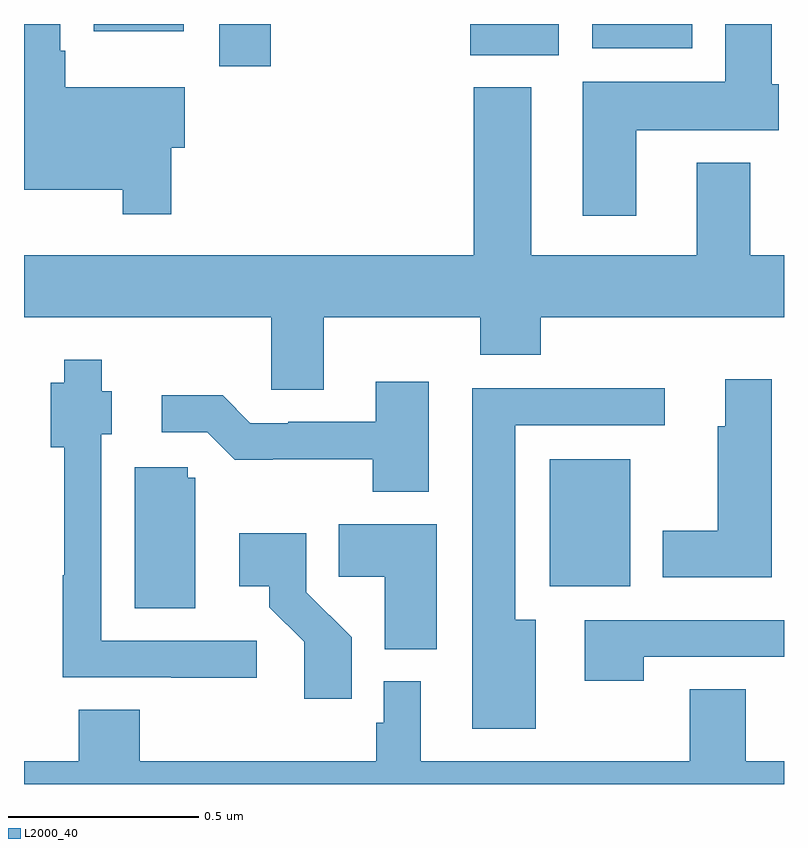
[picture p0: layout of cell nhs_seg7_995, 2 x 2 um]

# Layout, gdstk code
import gdstk
lib = gdstk.Library(unit=1e-6, precision=1e-09)
def R(c, l, rs):  # rectangles x0, y0, x1, y1
    for r in rs: c.add(gdstk.rectangle(r[:2], r[2:], *l))
def P(c, l, *ps):  # polygons
    for p in ps: c.add(gdstk.Polygon(p, *l))
L2000_40 = (2000, 40)

nhs_seg7_995 = lib.new_cell('nhs_seg7_995')
R(nhs_seg7_995, L2000_40, [(125.384,1054.52,125.596,1054.855), (124.514,1055.889,124.649,1056), (125.174,1055.918,125.407,1056), (125.495,1055.936,125.758,1056), (124.184,1055.981,124.42,1056)])
P(nhs_seg7_995, L2000_40, [(124.388,1055.675),(124.423,1055.675),(124.423,1055.833),(124.108,1055.833),(124.108,1055.929),(124.095,1055.929),(124.095,1056),(124,1056),(124,1055.564),(124.26,1055.564),(124.26,1055.499),(124.388,1055.499)],
  [(125.611,1055.72),(125.986,1055.72),(125.986,1055.841),(125.968,1055.841),(125.968,1056),(125.846,1056),(125.846,1055.848),(125.471,1055.848),(125.471,1055.496),(125.611,1055.496)],
  [(124.789,1055.228),(125.2,1055.228),(125.2,1055.129),(125.36,1055.129),(125.36,1055.228),(126,1055.228),(126,1055.392),(125.911,1055.392),(125.911,1055.635),(125.771,1055.635),(125.771,1055.392),(125.335,1055.392),(125.335,1055.833),(125.183,1055.833),(125.183,1055.392),(124,1055.392),(124,1055.228),(124.65,1055.228),(124.65,1055.038),(124.789,1055.038)],
  [(124.612,1054.377),(124.203,1054.377),(124.203,1054.92),(124.231,1054.92),(124.231,1055.034),(124.204,1055.034),(124.204,1055.116),(124.106,1055.116),(124.106,1055.056),(124.07,1055.056),(124.07,1054.886),(124.106,1054.886),(124.106,1054.55),(124.102,1054.55),(124.102,1054.281),(124.387,1054.281),(124.387,1054.279),(124.612,1054.279)],
  [(125.968,1055.065),(125.846,1055.065),(125.846,1054.941),(125.825,1054.941),(125.825,1054.666),(125.681,1054.666),(125.681,1054.544),(125.968,1054.544)],
  [(125.065,1055.059),(124.925,1055.059),(124.925,1054.953),(124.696,1054.953),(124.696,1054.95),(124.596,1054.95),(124.523,1055.023),(124.362,1055.023),(124.362,1054.926),(124.482,1054.926),(124.555,1054.853),(124.654,1054.853),(124.654,1054.854),(124.918,1054.854),(124.918,1054.769),(125.065,1054.769)],
  [(125.347,1054.432),(125.293,1054.432),(125.293,1054.944),(125.686,1054.944),(125.686,1055.042),(125.18,1055.042),(125.18,1054.146),(125.347,1054.146)],
  [(124.45,1054.806),(124.431,1054.806),(124.431,1054.833),(124.292,1054.833),(124.292,1054.462),(124.45,1054.462)],
  [(125.086,1054.684),(124.828,1054.684),(124.828,1054.546),(124.949,1054.546),(124.949,1054.355),(125.086,1054.355)],
  [(124.862,1054.386),(124.743,1054.505),(124.743,1054.66),(124.566,1054.66),(124.566,1054.52),(124.646,1054.52),(124.646,1054.465),(124.737,1054.375),(124.737,1054.224),(124.862,1054.224)],
  [(125.631,1054.335),(126,1054.335),(126,1054.431),(125.475,1054.431),(125.475,1054.272),(125.631,1054.272)],
  [(124.947,1054.27),(124.947,1054.161),(124.927,1054.161),(124.927,1054.06),(124.304,1054.06),(124.304,1054.196),(124.144,1054.196),(124.144,1054.06),(124,1054.06),(124,1054),(126,1054),(126,1054.06),(125.899,1054.06),(125.899,1054.25),(125.752,1054.25),(125.752,1054.06),(125.044,1054.06),(125.044,1054.27)])

lib.write_gds('nhs_seg7_995.gds')
